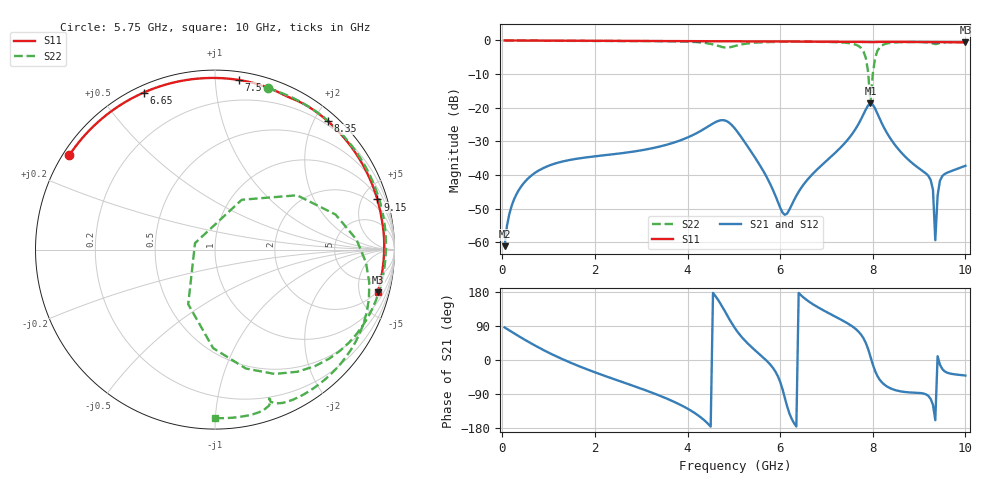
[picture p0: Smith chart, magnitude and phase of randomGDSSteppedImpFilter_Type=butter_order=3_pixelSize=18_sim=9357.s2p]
! freq	dB(S11)	phase(S11)	dB(S12)	phase(S12)
!  dB(S21)	phase(S21)	dB(S22)	phase(S22)
!S-par simulation data
#  GHz  S  DB  R 50
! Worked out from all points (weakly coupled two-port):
!   200 points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, 50 MHz to 10 GHz, reference 50 ohm
!   highest |S21| = -18.74 dB at 7.95 GHz (marker M1); lowest = -61.2 dB at 50 MHz (marker M2)
!   lowest |S11| = -0.6 dB at 10 GHz (marker M3), VSWR 30.53, Z = 93.8 - j363 ohm
!   |S11| at or under -10 dB: nowhere
!   |S22| runs from -18.6 to 0.0 dB; largest |S21 - S12| = 0
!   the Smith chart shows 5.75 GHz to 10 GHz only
!   S11 on the Smith chart (normalised r, x): 5.75 GHz: 0.02, +0.29; 6.65 GHz: 0.03, +0.64; 7.5 GHz: 0.05, +1.15; 8.35 GHz: 0.14, +2.20; 9.15 GHz: 1.19, +6.41; 10 GHz: 1.88, -7.27
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0.05  -0.00 -2.2  -61.17 85.9  -61.17 85.9  -0.00 -5.6
0.8  -0.04 -33.9  -38.56 32.0  -38.56 32.0  -0.10 -82.5
1.75  -0.09 -72.3  -34.89 -20.8  -34.89 -20.8  -0.14 -153.8
3.4  -0.16 -132.6  -31.54 -94.2  -31.54 -94.2  -0.22 111.4
4.05  -0.20 -154.8  -28.55 -131.9  -28.55 -131.9  -0.39 63.7
4.5  -0.23 -170.0  -25.10 -175.8  -25.10 -175.8  -1.02 0.8
4.8  -0.26 180.0  -23.76 130.0  -23.76 130.0  -2.08 -94.6
5.05  -0.26 171.5  -26.67 79.4  -26.67 79.4  -1.55 173.5
5.75  -0.29 147.2  -41.70 -7.2  -41.70 -7.2  -0.48 71.8
6.1  -0.31 134.7  -51.86 -99.4  -51.86 -99.4  -0.40 46.9
6.65  -0.35 114.5  -40.45 151.7  -40.45 151.7  -0.39 15.2
6.7  -0.35 112.6  -39.72 147.7  -39.72 147.7  -0.39 12.5
7.5  -0.41 81.8  -28.81 93.4  -28.81 93.4  -0.83 -34.7
7.8  -0.47 70.0  -21.93 57.2  -21.93 57.2  -3.29 -75.5
7.95  -0.51 64.5  -18.74 9.0  -18.74 9.0  -18.64 161.9
8.05  -0.46 60.9  -20.25 -28.9  -20.25 -28.9  -5.22 33.5
8.35  -0.42 48.7  -28.50 -72.8  -28.50 -72.8  -0.77 -22.4
9.15  -0.48 17.2  -39.57 -90.7  -39.57 -90.7  -0.54 -64.2
9.3  -0.49 11.4  -44.43 -118.1  -44.43 -118.1  -0.88 -69.9
9.35  -0.50 9.6  -59.40 -158.9  -59.40 -158.9  -1.09 -70.1
9.45  -0.50 5.7  -41.71 -12.2  -41.71 -12.2  -0.72 -71.0
10  -0.57 -14.7  -37.27 -40.9  -37.27 -40.9  -0.55 -89.9
